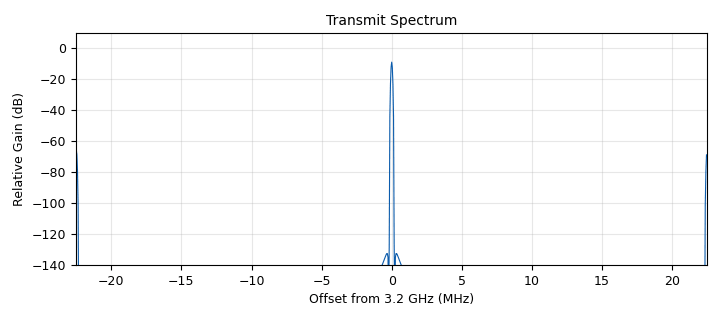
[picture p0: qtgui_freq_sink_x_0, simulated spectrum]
<?xml version='1.0' encoding='utf-8'?>
<?grc format='1' created='3.7.12'?>
<flow_graph>
<block>
<key>options</key>
<param><key>id</key><value>top_block</value></param>
<param><key>generate_options</key><value>qt_gui</value></param>
</block>
<block>
<key>variable_qtgui_entry</key>
<param><key>id</key><value>freq</value></param>
<param><key>value</key><value>int(3.2e9)</value></param>
<param><key>label</key><value>Frequency</value></param>
<param><key>type</key><value>int</value></param>
</block>
<block>
<key>variable</key>
<param><key>id</key><value>samp_rate</value></param>
<param><key>value</key><value>45000000</value></param>
</block>
<block>
<key>analog_random_source_x</key>
<param><key>id</key><value>analog_random_source_x_0</value></param>
<param><key>max</key><value>1</value></param>
<param><key>min</key><value>0</value></param>
<param><key>num_samps</key><value>1000</value></param>
<param><key>type</key><value>byte</value></param>
<param><key>repeat</key><value>True</value></param>
</block>
<block>
<key>blocks_complex_to_float</key>
<param><key>id</key><value>blocks_complex_to_float_0</value></param>
</block>
<block>
<key>blocks_float_to_short</key>
<param><key>id</key><value>blocks_float_to_short_0_0</value></param>
<param><key>scale</key><value>1</value></param>
</block>
<block>
<key>blocks_float_to_short</key>
<param><key>id</key><value>blocks_float_to_short_0_0_0</value></param>
<param><key>scale</key><value>1</value></param>
</block>
<block>
<key>digital_dxpsk_mod</key>
<param><key>id</key><value>digital_dxpsk_mod_0</value></param>
<param><key>excess_bw</key><value>0.35</value></param>
<param><key>mod_code</key><value>"gray"</value></param>
<param><key>log</key><value>False</value></param>
<param><key>samples_per_symbol</key><value>2</value></param>
<param><key>type</key><value>dqpsk</value></param>
<param><key>verbose</key><value>False</value></param>
</block>
<block>
<key>fmcomms1_fmcomms1_sink</key>
<param><key>id</key><value>fmcomms1_fmcomms1_sink_0</value></param>
<param><key>buffer_size</key><value>0x8000</value></param>
<param><key>ch1_en</key><value>True</value></param>
<param><key>ch2_en</key><value>True</value></param>
<param><key>cyclic</key><value>False</value></param>
<param><key>uri</key><value>uri</value></param>
<param><key>interpolation</key><value>1</value></param>
<param><key>frequency</key><value>int(freq)</value></param>
<param><key>samplerate</key><value>samp_rate</value></param>
</block>
<block>
<key>qtgui_freq_sink_x</key>
<param><key>id</key><value>qtgui_freq_sink_x_0</value></param>
<param><key>bw</key><value>samp_rate</value></param>
<param><key>fc</key><value>freq</value></param>
<param><key>fftsize</key><value>1024</value></param>
<param><key>name</key><value>Transmit Spectrum</value></param>
<param><key>showports</key><value>True</value></param>
<param><key>type</key><value>complex</value></param>
<param><key>wintype</key><value>firdes.WIN_BLACKMAN_hARRIS</value></param>
</block>
<block>
<key>parameter</key>
<param><key>id</key><value>uri</value></param>
<param><key>label</key><value>URI</value></param>
<param><key>type</key><value>string</value></param>
<param><key>value</key><value>10.1.135.84</value></param>
</block>
<connection><source_block_id>analog_random_source_x_0</source_block_id><sink_block_id>digital_dxpsk_mod_0</sink_block_id><source_key>0</source_key><sink_key>0</sink_key></connection>
<connection><source_block_id>blocks_complex_to_float_0</source_block_id><sink_block_id>blocks_float_to_short_0_0_0</sink_block_id><source_key>1</source_key><sink_key>0</sink_key></connection>
<connection><source_block_id>blocks_complex_to_float_0</source_block_id><sink_block_id>blocks_float_to_short_0_0</sink_block_id><source_key>0</source_key><sink_key>0</sink_key></connection>
<connection><source_block_id>blocks_float_to_short_0_0</source_block_id><sink_block_id>fmcomms1_fmcomms1_sink_0</sink_block_id><source_key>0</source_key><sink_key>0</sink_key></connection>
<connection><source_block_id>blocks_float_to_short_0_0_0</source_block_id><sink_block_id>fmcomms1_fmcomms1_sink_0</sink_block_id><source_key>0</source_key><sink_key>1</sink_key></connection>
<connection><source_block_id>digital_dxpsk_mod_0</source_block_id><sink_block_id>blocks_complex_to_float_0</sink_block_id><source_key>0</source_key><sink_key>0</sink_key></connection>
<connection><source_block_id>digital_dxpsk_mod_0</source_block_id><sink_block_id>qtgui_freq_sink_x_0</sink_block_id><source_key>0</source_key><sink_key>0</sink_key></connection>
</flow_graph>
